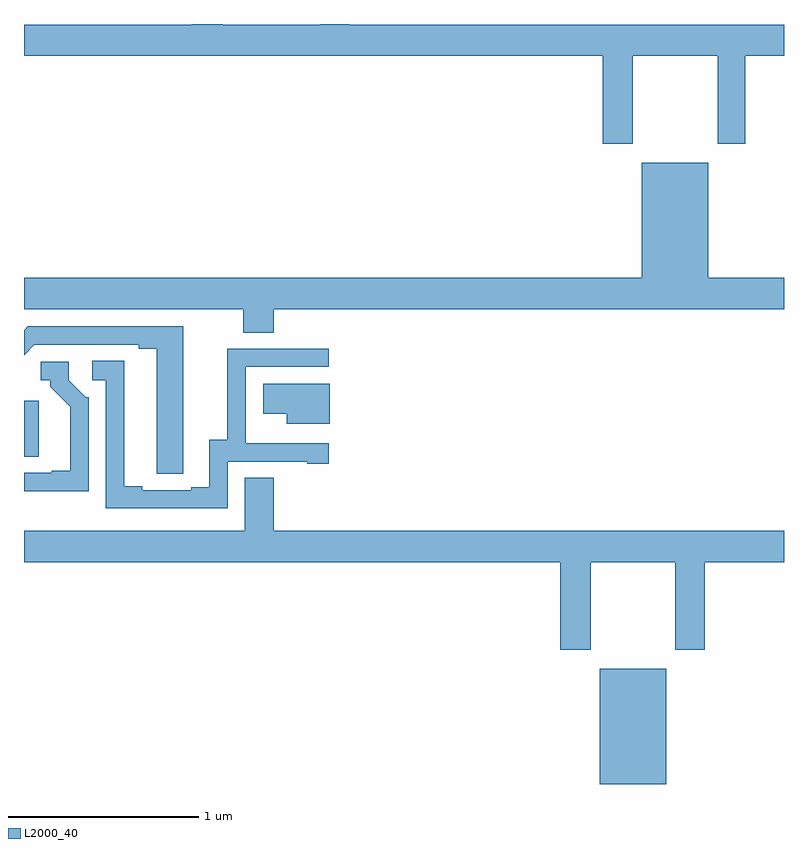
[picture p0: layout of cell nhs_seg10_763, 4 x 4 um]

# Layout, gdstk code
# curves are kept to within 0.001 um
import gdstk
lib = gdstk.Library(unit=1e-6, precision=1e-09)
def R(c, l, rs):  # rectangles x0, y0, x1, y1
    for r in rs: c.add(gdstk.rectangle(r[:2], r[2:], *l))
def P(c, l, *ps):  # polygons
    for p in ps: c.add(gdstk.Polygon(p, *l))
L2000_40 = (2000, 40)

nhs_seg10_763 = lib.new_cell('nhs_seg10_763')
R(nhs_seg10_763, L2000_40, [(152.03,1280.5,152.38,1281.106), (149,1282.222,149.077,1282.516)])
P(nhs_seg10_763, L2000_40, [(152.205,1284.332),(152.65,1284.332),(152.65,1283.871),(152.797,1283.871),(152.797,1284.332),(153,1284.332),(153,1284.496),(150.711,1284.496),(150.711,1284.5),(150.56,1284.5),(150.56,1284.496),(150.047,1284.496),(150.047,1284.5),(149.882,1284.5),(149.882,1284.496),(149,1284.496),(149,1284.332),(152.045,1284.332),(152.045,1283.871),(152.205,1283.871)],
  [(150.314,1283),(153,1283),(153,1283.164),(152.602,1283.164),(152.602,1283.77),(152.252,1283.77),(152.252,1283.164),(149,1283.164),(149,1283),(150.154,1283),(150.154,1282.876),(150.314,1282.876)],
  [(149.838,1282.24),(149.839,1282.24),(149.839,1282.908),(149.019,1282.908),(149,1282.889),(149,1282.757),(149.055,1282.812),(149.603,1282.812),(149.603,1282.792),(149.699,1282.792),(149.699,1282.132),(149.838,1282.132)],
  [(150.072,1282.197),(150.491,1282.197),(150.491,1282.185),(150.604,1282.185),(150.604,1282.293),(150.17,1282.293),(150.17,1282.294),(150.168,1282.294),(150.168,1282.695),(150.604,1282.695),(150.604,1282.791),(150.07,1282.791),(150.07,1282.313),(149.975,1282.313),(149.975,1282.062),(149.879,1282.062),(149.879,1282.047),(149.623,1282.047),(149.623,1282.067),(149.527,1282.067),(149.527,1282.727),(149.358,1282.727),(149.358,1282.626),(149.43,1282.626),(149.43,1281.951),(150.072,1281.951)],
  [(149.34,1282.536),(149.325,1282.536),(149.235,1282.626),(149.235,1282.722),(149.088,1282.722),(149.088,1282.626),(149.138,1282.626),(149.138,1282.591),(149.243,1282.486),(149.243,1282.15),(149.147,1282.15),(149.147,1282.137),(149,1282.137),(149,1282.041),(149.34,1282.04)],
  [(150.61,1282.606),(150.258,1282.606),(150.258,1282.448),(150.383,1282.448),(150.383,1282.397),(150.61,1282.397)],
  [(151.983,1281.668),(152.428,1281.668),(152.428,1281.207),(152.583,1281.207),(152.583,1281.668),(153,1281.668),(153,1281.832),(150.314,1281.832),(150.314,1282.112),(150.161,1282.112),(150.161,1281.832),(149,1281.832),(149,1281.668),(151.823,1281.668),(151.823,1281.207),(151.983,1281.207)])

lib.write_gds('nhs_seg10_763.gds')
